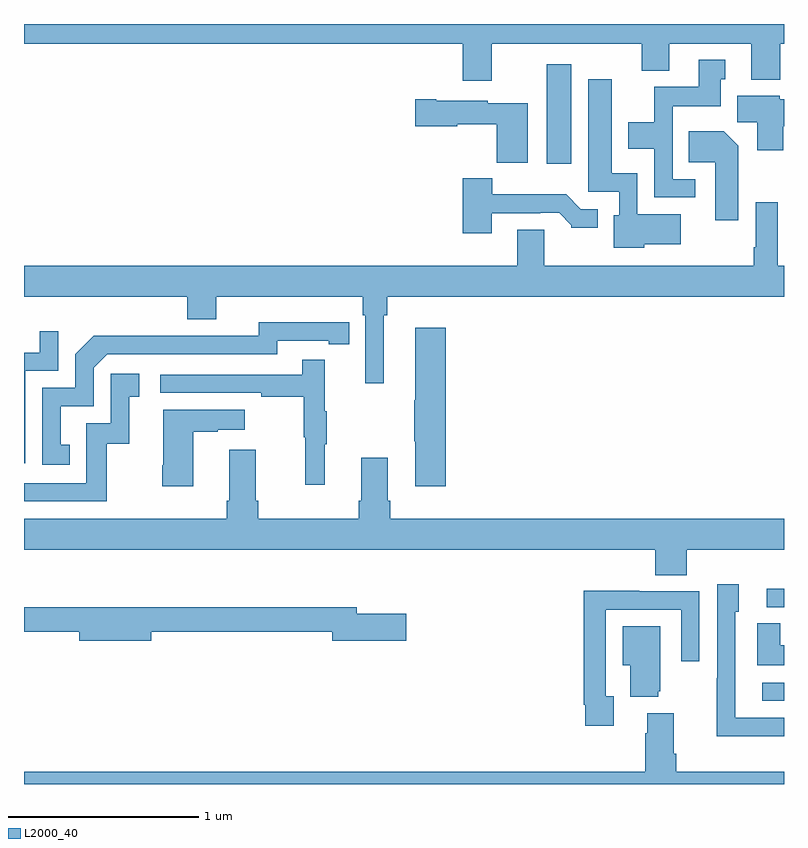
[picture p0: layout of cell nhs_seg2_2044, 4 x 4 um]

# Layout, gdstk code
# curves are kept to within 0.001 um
import gdstk
lib = gdstk.Library(unit=1e-6, precision=1e-09)
def R(c, l, rs):  # rectangles x0, y0, x1, y1
    for r in rs: c.add(gdstk.rectangle(r[:2], r[2:], *l))
def P(c, l, *ps):  # polygons
    for p in ps: c.add(gdstk.Polygon(p, *l))
L2000_40 = (2000, 40)

nhs_seg2_2044 = lib.new_cell('nhs_seg2_2044')
R(nhs_seg2_2044, L2000_40, [(222.885,584.238,223,584.334), (222.909,584.73,223,584.828), (221.75,587.064,221.881,587.587)])
P(nhs_seg2_2044, L2000_40, [(219,587.696),(221.309,587.696),(221.309,587.502),(221.461,587.502),(221.461,587.696),(222.25,587.696),(222.25,587.555),(222.397,587.555),(222.397,587.696),(222.827,587.696),(222.827,587.507),(222.98,587.507),(222.98,587.696),(223,587.696),(223,587.8),(219,587.8)],
  [(222.532,586.983),(222.414,586.983),(222.414,587.366),(222.667,587.366),(222.667,587.508),(222.691,587.508),(222.691,587.611),(222.551,587.611),(222.551,587.47),(222.316,587.47),(222.316,587.284),(222.179,587.284),(222.179,587.144),(222.318,587.144),(222.318,586.887),(222.532,586.887)],
  [(222.264,586.64),(222.457,586.64),(222.457,586.798),(222.228,586.798),(222.228,587.014),(222.094,587.014),(222.094,587.509),(221.969,587.509),(221.969,586.917),(222.132,586.917),(222.132,586.794),(222.104,586.794),(222.104,586.622),(222.264,586.622)],
  [(222.995,587.261),(223,587.261),(223,587.403),(222.978,587.403),(222.978,587.422),(222.755,587.422),(222.755,587.284),(222.86,587.284),(222.86,587.136),(222.995,587.136)],
  [(221.65,587.383),(221.442,587.383),(221.442,587.395),(221.17,587.395),(221.17,587.403),(221.058,587.403),(221.058,587.261),(221.28,587.261),(221.28,587.273),(221.488,587.273),(221.488,587.069),(221.65,587.069)],
  [(222.76,587.158),(222.682,587.236),(222.499,587.236),(222.499,587.072),(222.638,587.072),(222.638,586.767),(222.76,586.767)],
  [(221.461,586.803),(221.717,586.803),(221.717,586.806),(221.816,586.806),(221.88,586.742),(221.88,586.727),(222.019,586.727),(222.019,586.824),(221.931,586.824),(221.853,586.903),(221.464,586.903),(221.464,586.987),(221.309,586.987),(221.309,586.698),(221.461,586.698)],
  [(220.894,586.268),(220.913,586.268),(220.913,586.364),(223,586.364),(223,586.528),(222.968,586.528),(222.968,586.861),(222.852,586.861),(222.852,586.624),(222.84,586.624),(222.84,586.528),(221.737,586.528),(221.737,586.718),(221.597,586.718),(221.597,586.528),(219,586.528),(219,586.364),(219.86,586.364),(219.86,586.247),(220.012,586.247),(220.012,586.364),(220.784,586.364),(220.784,586.268),(220.797,586.268),(220.797,585.909),(220.894,585.909)],
  [(219.242,585.585),(219.193,585.585),(219.193,585.789),(219.366,585.789),(219.366,585.99),(219.438,586.062),(220.332,586.062),(220.332,586.134),(220.604,586.134),(220.604,586.114),(220.712,586.114),(220.712,586.23),(220.236,586.231),(220.236,586.158),(219.776,586.158),(219.776,586.16),(219.368,586.16),(219.27,586.062),(219.27,585.885),(219.096,585.885),(219.096,585.48),(219.242,585.48)],
  [(221.219,586.201),(221.06,586.201),(221.06,585.821),(221.053,585.821),(221.053,585.604),(221.06,585.604),(221.06,585.366),(221.219,585.366)],
  [(219.006,585.975),(219.18,585.975),(219.18,586.183),(219.083,586.183),(219.083,586.071),(219,586.071),(219,585.489),(219.006,585.489)],
  [(220.583,585.587),(220.594,585.587),(220.594,585.761),(220.583,585.761),(220.583,586.033),(220.465,586.033),(220.465,585.954),(219.717,585.954),(219.717,585.858),(220.249,585.858),(220.249,585.838),(220.473,585.838),(220.473,585.624),(220.48,585.624),(220.48,585.375),(220.583,585.375)],
  [(219.436,585.591),(219.554,585.591),(219.554,585.837),(219.607,585.837),(219.607,585.958),(219.456,585.958),(219.456,585.699),(219.327,585.699),(219.327,585.384),(219,585.384),(219,585.288),(219.436,585.288)],
  [(219.892,585.655),(220.019,585.655),(220.019,585.665),(220.162,585.665),(220.162,585.769),(219.734,585.769),(219.734,585.478),(219.727,585.478),(219.727,585.366),(219.892,585.366)],
  [(222.488,585.032),(223,585.032),(223,585.196),(220.928,585.196),(220.928,585.292),(220.915,585.292),(220.915,585.517),(220.775,585.517),(220.775,585.292),(220.763,585.292),(220.763,585.196),(220.232,585.196),(220.232,585.292),(220.219,585.292),(220.219,585.559),(220.079,585.559),(220.079,585.292),(220.067,585.292),(220.067,585.196),(219,585.196),(219,585.032),(222.323,585.032),(222.323,584.899),(222.488,584.899)],
  [(223,584.148),(222.744,584.148),(222.744,584.706),(222.763,584.706),(222.763,584.851),(222.648,584.851),(222.648,584.357),(222.646,584.357),(222.646,584.051),(223,584.051)],
  [(222.103,584.262),(222.063,584.262),(222.063,584.718),(222.459,584.718),(222.459,584.445),(222.555,584.445),(222.555,584.814),(222.239,584.814),(222.239,584.816),(221.947,584.816),(221.947,584.218),(221.955,584.218),(221.955,584.106),(222.103,584.106)],
  [(219.67,584.602),(220.622,584.602),(220.622,584.555),(221.011,584.555),(221.011,584.697),(220.75,584.697),(220.75,584.731),(219,584.731),(219,584.602),(219.29,584.602),(219.29,584.555),(219.67,584.555)],
  [(223,584.53),(222.981,584.53),(222.981,584.645),(222.86,584.645),(222.86,584.426),(223,584.426)],
  [(222.338,584.289),(222.349,584.289),(222.349,584.629),(222.152,584.629),(222.152,584.426),(222.191,584.426),(222.191,584.258),(222.338,584.258)],
  [(223,583.864),(222.434,583.864),(222.434,583.96),(222.421,583.96),(222.421,584.173),(222.281,584.173),(222.281,584.066),(222.269,584.066),(222.269,583.864),(219,583.864),(219,583.8),(223,583.8)])

lib.write_gds('nhs_seg2_2044.gds')
